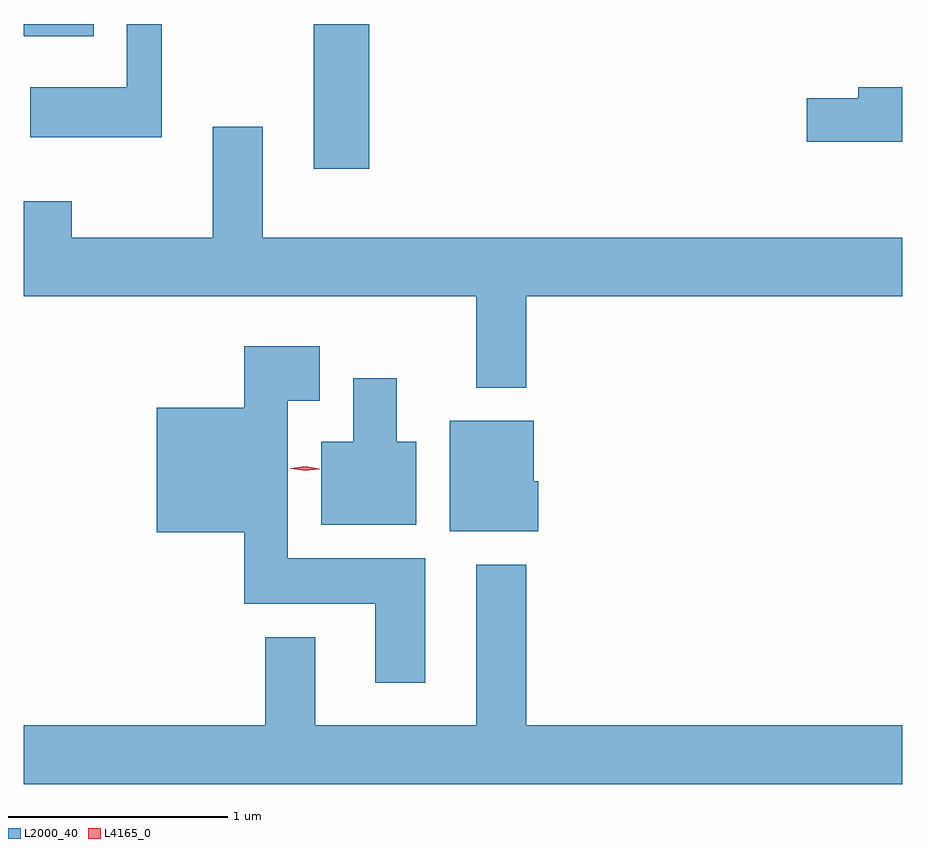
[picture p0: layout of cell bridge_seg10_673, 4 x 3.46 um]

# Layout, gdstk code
import gdstk
lib = gdstk.Library(unit=1e-6, precision=1e-09)
def R(c, l, rs):  # rectangles x0, y0, x1, y1
    for r in rs: c.add(gdstk.rectangle(r[:2], r[2:], *l))
def P(c, l, *ps):  # polygons
    for p in ps: c.add(gdstk.Polygon(p, *l))
L2000_40 = (2000, 40)
L4165_0 = (4165, 0)

bridge_seg10_673 = lib.new_cell('bridge_seg10_673')
R(bridge_seg10_673, L2000_40, [(970.041,2121.156,970.294,2121.816), (968.721,2121.761,969.039,2121.816)])
P(bridge_seg10_673, L2000_40, [(969.349,2121.816),(969.191,2121.816),(969.191,2121.529),(968.751,2121.529),(968.751,2121.301),(969.349,2121.301)],
  [(972.721,2121.529),(972.521,2121.529),(972.521,2121.479),(972.286,2121.479),(972.286,2121.281),(972.721,2121.281)],
  [(971.009,2120.576),(972.721,2120.576),(972.721,2120.844),(969.809,2120.844),(969.809,2121.349),(969.581,2121.349),(969.581,2120.844),(968.939,2120.844),(968.939,2121.009),(968.721,2121.009),(968.721,2120.576),(970.781,2120.576),(970.781,2120.161),(971.009,2120.161)],
  [(970.549,2119.384),(969.924,2119.384),(969.924,2120.101),(970.069,2120.101),(970.069,2120.349),(969.726,2120.349),(969.726,2120.069),(969.326,2120.069),(969.326,2119.501),(969.726,2119.501),(969.726,2119.176),(970.321,2119.176),(970.321,2118.816),(970.549,2118.816)],
  [(970.509,2119.914),(970.419,2119.914),(970.419,2120.204),(970.221,2120.204),(970.221,2119.914),(970.076,2119.914),(970.076,2119.536),(970.509,2119.536)],
  [(971.064,2119.734),(971.044,2119.734),(971.044,2120.009),(970.661,2120.009),(970.661,2119.506),(971.064,2119.506)],
  [(972.721,2118.624),(971.009,2118.624),(971.009,2119.354),(970.781,2119.354),(970.781,2118.624),(970.049,2118.624),(970.049,2119.024),(969.821,2119.024),(969.821,2118.624),(968.721,2118.624),(968.721,2118.356),(972.721,2118.356)])
P(bridge_seg10_673, L4165_0, [(970.002,2119.782),(969.936,2119.792),(969.936,2119.793),(969.936,2119.793),(970.002,2119.802),(970.067,2119.791),(970.068,2119.79),(970.067,2119.79)])

lib.write_gds('bridge_seg10_673.gds')
